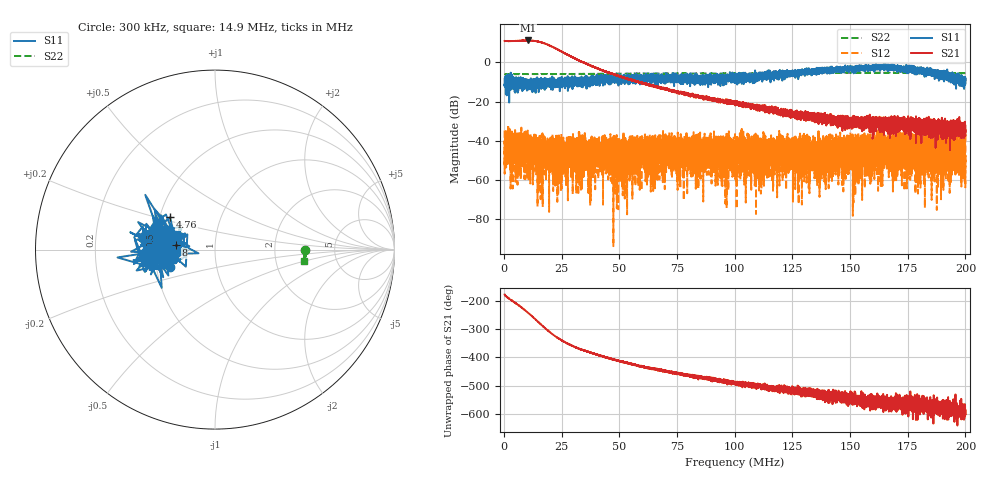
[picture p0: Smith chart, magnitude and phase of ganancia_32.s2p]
# Hz S DB R 50
! CMT, M5065, 19127446, 24.2.4/2
! Date: 10/29/2024 1:20:04 PM
! Data: Format (Calibration Info)
! Freq	S11:dB/Ang(F2)	S21:dB/Ang(F2)	S12:dB/Ang(F2)	S22:dB/Ang(F2)
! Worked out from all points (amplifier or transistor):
!   9000 points, 300 kHz to 200 MHz, reference 50 ohm
!   highest |S21| = 11.1 dB at 10.46 MHz (marker M1)
!   |S21| within 3 dB of that: start of sweep to 20.56 MHz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
!   unconditionally stable (mu >= 1): start of sweep to end of sweep
!   at 33.59 MHz: K = 28.60, MAG = 2.1 dB, |S12| = -38.9 dB
!   at 100.2 MHz: K = 358.26, MAG = -18.1 dB, |S12| = -41.4 dB
!   at 200 MHz: K = 4217.50, MAG = -33.3 dB, |S12| = -47.3 dB
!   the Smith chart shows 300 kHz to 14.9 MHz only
!   S11 on the Smith chart (normalised r, x): 300 kHz: 0.59, -0.12; 4.76 MHz: 0.57, +0.23; 8 MHz: 0.64, +0.04; 14.9 MHz: 0.47, +0.01
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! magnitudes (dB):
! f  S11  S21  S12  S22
! 300 kHz  -11.4  10.8  -34.8  -6.0
! 1.299 MHz  -9.6  10.8  -44.4  -6.0
! 4.76 MHz  -10.2  10.8  -37.8  -6.0
! 8 MHz  -13.1  11.1  -52.9  -6.0
! 10.46 MHz  -9.6  11.1  -46.9  -6.0
! 14.9 MHz  -8.9  10.6  -49.4  -6.0
! 33.59 MHz  -10.6  0.4  -38.9  -5.9
! 34.94 MHz  -7.7  -0.4  -41.5  -5.9
! 36.98 MHz  -8.6  -1.3  -48.3  -5.9
! 40.58 MHz  -11.4  -3.0  -42.1  -5.9
! 53.71 MHz  -8.5  -8.4  -42.2  -5.8
! 55.78 MHz  -9.1  -9.1  -46.0  -5.8
! 57.86 MHz  -7.1  -9.7  -56.2  -5.8
! 66.87 MHz  -8.0  -12.5  -43.2  -5.7
! 100.2 MHz  -6.9  -20.4  -41.4  -5.7
! 103.7 MHz  -6.6  -22.9  -52.0  -5.7
! 111.3 MHz  -6.0  -22.8  -44.0  -5.6
! 118.9 MHz  -6.0  -24.5  -46.5  -5.5
! 133.4 MHz  -3.8  -27.4  -43.7  -5.4
! 142.3 MHz  -4.5  -30.2  -44.8  -5.4
! 166.7 MHz  -1.7  -31.7  -41.3  -5.4
! 200 MHz  -9.1  -35.3  -47.3  -5.6
